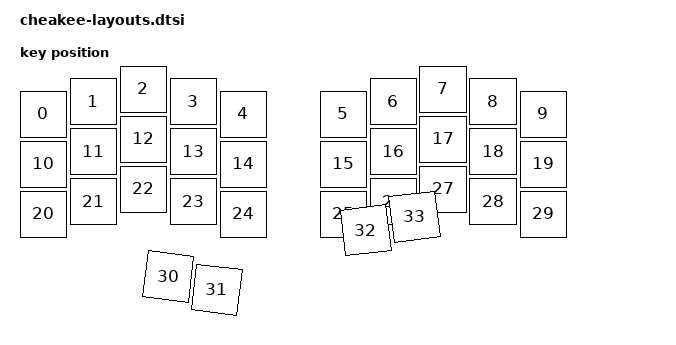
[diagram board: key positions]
#include <physical_layouts.dtsi>

/ {
    physical_layout0: physical_layout_0 {
        compatible = "zmk,physical-layout";
        display-name = "Default Layout";

        keys  //                     w   h    x    y     rot    rx    ry
            = <&key_physical_attrs 100 100    0   50       0     0     0>
            , <&key_physical_attrs 100 100  100   25       0     0     0>
            , <&key_physical_attrs 100 100  200    0       0     0     0>
            , <&key_physical_attrs 100 100  300   25       0     0     0>
            , <&key_physical_attrs 100 100  400   50       0     0     0>
            , <&key_physical_attrs 100 100  600   50       0     0     0>
            , <&key_physical_attrs 100 100  700   25       0     0     0>
            , <&key_physical_attrs 100 100  800    0       0     0     0>
            , <&key_physical_attrs 100 100  900   25       0     0     0>
            , <&key_physical_attrs 100 100 1000   50       0     0     0>
            , <&key_physical_attrs 100 100    0  150       0     0     0>
            , <&key_physical_attrs 100 100  100  125       0     0     0>
            , <&key_physical_attrs 100 100  200  100       0     0     0>
            , <&key_physical_attrs 100 100  300  125       0     0     0>
            , <&key_physical_attrs 100 100  400  150       0     0     0>
            , <&key_physical_attrs 100 100  600  150       0     0     0>
            , <&key_physical_attrs 100 100  700  125       0     0     0>
            , <&key_physical_attrs 100 100  800  100       0     0     0>
            , <&key_physical_attrs 100 100  900  125       0     0     0>
            , <&key_physical_attrs 100 100 1000  150       0     0     0>
            , <&key_physical_attrs 100 100    0  250       0     0     0>
            , <&key_physical_attrs 100 100  100  225       0     0     0>
            , <&key_physical_attrs 100 100  200  200       0     0     0>
            , <&key_physical_attrs 100 100  300  225       0     0     0>
            , <&key_physical_attrs 100 100  400  250       0     0     0>
            , <&key_physical_attrs 100 100  600  250       0     0     0>
            , <&key_physical_attrs 100 100  700  225       0     0     0>
            , <&key_physical_attrs 100 100  800  200       0     0     0>
            , <&key_physical_attrs 100 100  900  225       0     0     0>
            , <&key_physical_attrs 100 100 1000  250       0     0     0>
            , <&key_physical_attrs 100 100  300  335     700     0     0>
            , <&key_physical_attrs 100 100  400  350     700     0     0>
            , <&key_physical_attrs 100 100  600  365  (-700)     0     0>
            , <&key_physical_attrs 100 100  700  350  (-700)     0     0>
            ;
    };
};
